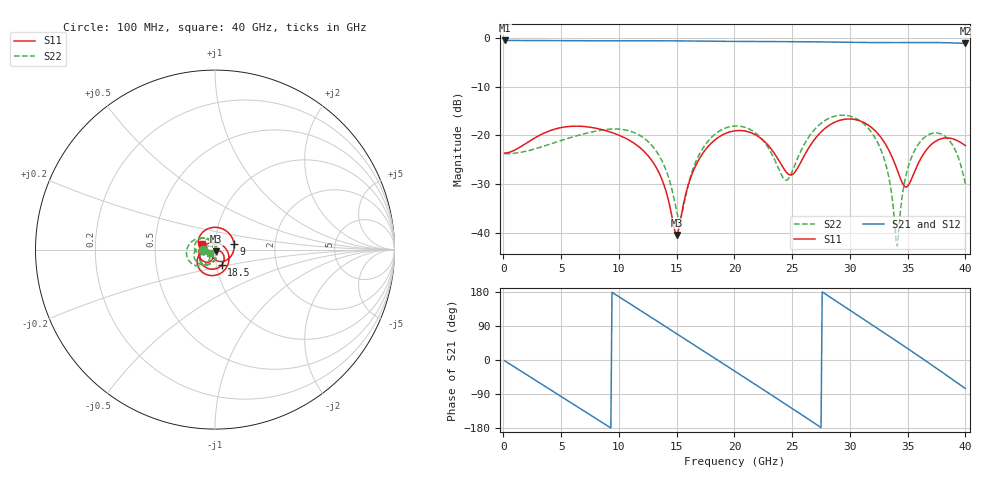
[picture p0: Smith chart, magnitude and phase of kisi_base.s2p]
! X_s8x2_L1L3_bd_d200: L1→L3 back-drilled, drill Ø0.2, L2 plane removed: L3 exits above the top plane
! stackup: 8-layer 1.6 mm FR-4 without the L2 plane
! ports: 1, 2
! kisi-fdtd, conformal, dfine 0.035 mm, 657475 cells
# Hz S RI R 50
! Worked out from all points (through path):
!   400 points, 100 MHz to 40 GHz, reference 50 ohm
!   highest |S21| = -0.55 dB at 100 MHz (marker M1); lowest = -1.2 dB at 40 GHz (marker M2)
!   group delay of S21, straight-line fit = 55 ps
!   lowest |S11| = -40.4 dB at 15 GHz (marker M3), VSWR 1.02, Z = 50.4 - j0.86 ohm
!   |S11| at or under -10 dB: start of sweep to end of sweep
!   |S22| runs from -42.7 to -15.9 dB; largest |S21 - S12| = 4.8e-06
!   S11 on the Smith chart (normalised r, x): 100 MHz: 0.88, -0.00; 9 GHz: 1.24, +0.08; 18.5 GHz: 1.06, -0.18; 40 GHz: 0.86, +0.06
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1e8  -0.0657 -0.000117  0.9377 -0.0317  0.9377 -0.0317  -0.0646 -0.000566
3.7e9  -0.091 0.0575  0.2969 -0.8867  0.2969 -0.8867  -0.0769 -0.0183
6.8e9  0.0287 0.1202  -0.6133 -0.7007  -0.6133 -0.7007  -0.1014 -0.0137
9e9  0.1062 0.0302  -0.9254 -0.1034  -0.9254 -0.1034  -0.1145 0.0119
1.1e10  0.066 -0.0574  -0.7869 0.4999  -0.7869 0.4999  -0.0981 0.0498
1.34e10  -0.00839 -0.0421  -0.1728 0.9156  -0.1728 0.9156  -0.0279 0.0579
1.5e10  0.00424 -0.00852  0.3283 0.8693  0.3283 0.8693  0.0111 0.0124
1.54e10  0.0139 -0.00628  0.4435 0.8155  0.4435 0.8155  0.0143 -0.00364
1.64e10  0.0386 -0.0167  0.6898 0.6175  0.6898 0.6175  0.00722 -0.0442
1.85e10  0.0374 -0.0854  0.9204 0.00999  0.9204 0.00999  -0.0625 -0.0864
2.01e10  -0.0255 -0.1085  0.7878 -0.47  0.7878 -0.47  -0.1117 -0.0554
2.34e10  -0.0648 0.0167  -0.0969 -0.909  -0.0969 -0.909  -0.0579 0.011
2.46e10  -0.00721 0.0399  -0.4567 -0.7905  -0.4567 -0.7905  -0.0301 -0.0181
2.67e10  0.0766 -0.0322  -0.8651 -0.2791  -0.8651 -0.2791  -0.062 -0.0861
2.85e10  0.0389 -0.127  -0.8574 0.2839  -0.8574 0.2839  -0.1375 -0.071
3.05e10  -0.0687 -0.1274  -0.4676 0.7645  -0.4676 0.7645  -0.1475 0.0234
3.34e10  -0.0679 -0.0136  0.4055 0.794  0.4055 0.794  -0.01 0.0342
3.41e10  -0.0431 -0.00957  0.5886 0.6701  0.5886 0.6701  0.00728 0.000615
3.49e10  -0.0204 -0.0214  0.7545 0.4773  0.7545 0.4772  0.00607 -0.0404
3.64e10  -0.0208 -0.0617  0.8939 0.0189  0.8939 0.0189  -0.0427 -0.0837
3.85e10  -0.083 -0.0439  0.648 -0.6082  0.648 -0.6082  -0.0841 -0.0362
4e10  -0.0714 0.0326  0.222 -0.8457  0.222 -0.8457  -0.0275 -0.0162
